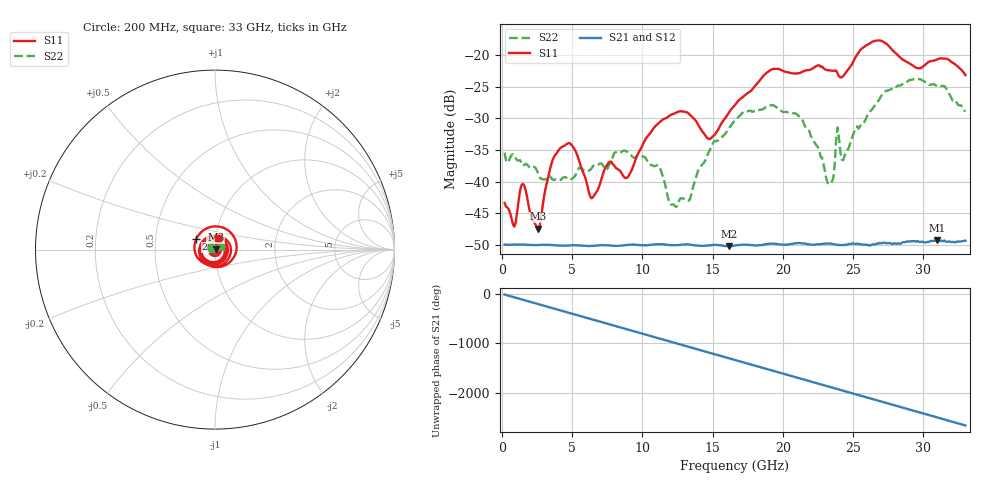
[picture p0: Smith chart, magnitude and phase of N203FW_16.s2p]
# GHZ S RI R 50
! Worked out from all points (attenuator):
!   329 points, 200 MHz to 33 GHz, reference 50 ohm
!   highest |S21| = -49.26 dB at 31 GHz (marker M1); lowest = -50.2 dB at 16.2 GHz (marker M2)
!   lowest |S11| = -47.4 dB at 2.6 GHz (marker M3), VSWR 1.01, Z = 50.4 + j0.114 ohm
!   |S11| at or under -10 dB: start of sweep to end of sweep
!   |S22| runs from -44.0 to -23.8 dB; largest |S21 - S12| = 8.9e-05
!   S11 on the Smith chart (normalised r, x): 200 MHz: 1.01, +0.01; 26 GHz: 0.81, +0.10; 33 GHz: 1.03, +0.14
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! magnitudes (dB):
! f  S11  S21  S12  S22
! 200 MHz  -43.4  -50.0  -49.9  -35.4
! 900 MHz  -47.1  -49.9  -49.9  -35.9
! 1.5 GHz  -40.4  -49.9  -49.9  -37.5
! 2.6 GHz  -47.4  -50.0  -50.0  -38.8
! 4.1 GHz  -34.9  -50.1  -50.1  -39.8
! 5.7 GHz  -38.1  -50.1  -50.1  -38.0
! 6.4 GHz  -42.6  -50.2  -50.2  -37.9
! 7.7 GHz  -36.9  -50.1  -50.1  -37.0
! 8.9 GHz  -39.4  -50.0  -50.0  -35.3
! 11.2 GHz  -30.7  -49.9  -49.9  -37.5
! 13.3 GHz  -29.3  -49.9  -50.0  -43.0
! 14.8 GHz  -33.3  -50.1  -50.1  -35.0
! 16.2 GHz  -29.0  -50.2  -50.2  -31.5
! 16.6 GHz  -27.9  -50.1  -50.1  -30.3
! 22.1 GHz  -22.2  -50.0  -49.9  -33.2
! 23.3 GHz  -22.4  -49.8  -49.8  -40.4
! 23.9 GHz  -22.9  -50.0  -50.0  -31.5
! 24.3 GHz  -23.3  -50.0  -49.9  -36.6
! 26 GHz  -18.4  -50.0  -50.0  -29.6
! 27.6 GHz  -18.7  -49.7  -49.7  -25.5
! 31 GHz  -20.7  -49.3  -49.2  -24.8
! 33 GHz  -23.2  -49.3  -49.4  -28.9
